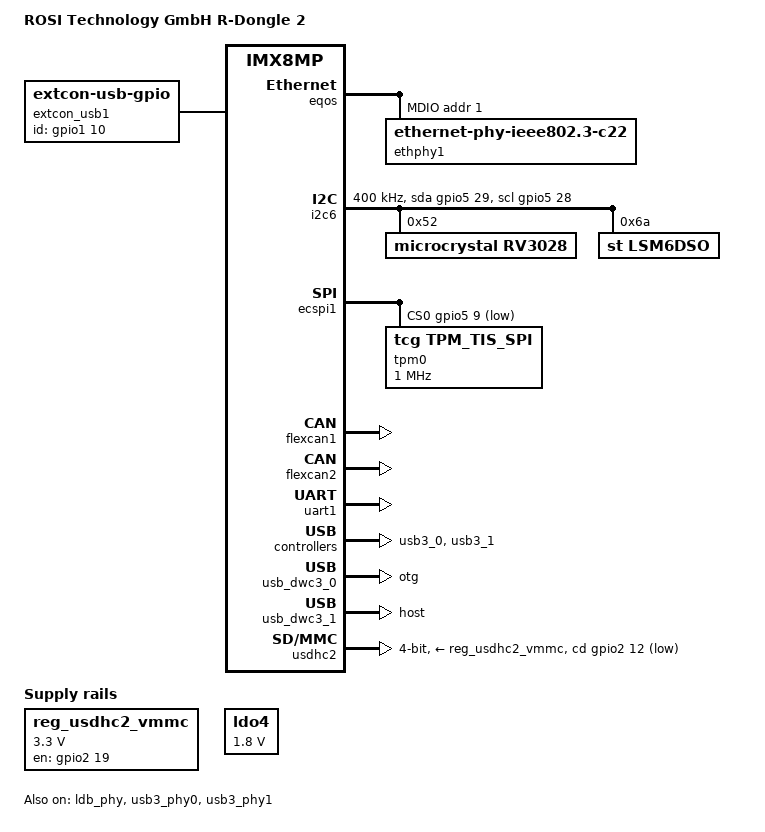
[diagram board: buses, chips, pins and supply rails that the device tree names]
// SPDX-License-Identifier: (GPL-2.0+ OR MIT)
/*
 * Copyright 2019 NXP
 * Copyright 2020-2021 Variscite Ltd.
 */

#include "imx8mp-var-dart.dtsi"

/ {
	model = "ROSI Technology GmbH R-Dongle 2";

	chosen {
		stdout-path = &uart1;
	};


	reg_usdhc2_vmmc: regulator-usdhc2-vmmc {
		compatible = "regulator-fixed";
		regulator-name = "VSD_3V3";
		regulator-min-microvolt = <3300000>;
		regulator-max-microvolt = <3300000>;
		gpio = <&gpio2 19 GPIO_ACTIVE_HIGH>;
		enable-active-high;
		startup-delay-us = <100>;
		off-on-delay-us = <12000>;
	};



	extcon_usb1: extcon_usb1 {
		compatible = "linux,extcon-usb-gpio";
		pinctrl-names = "default";
		pinctrl-0 = <&pinctrl_extcon>;
		id-gpio = <&gpio1 10 GPIO_ACTIVE_HIGH>;
		status = "okay";
	};

};

&eqos {
	mdio {
		ethphy1: ethernet-phy@1 {
			compatible = "ethernet-phy-ieee802.3-c22";
			reg = <1>;
			at803x,eee-disabled;
			at803x,vddio-1p8v;
			eee-broken-1000t;
		};
	};
};



&i2c6 {
	clock-frequency = <400000>;
	pinctrl-names = "default", "gpio";
	pinctrl-0 = <&pinctrl_i2c6>;
	scl-gpios = <&gpio5 28 GPIO_ACTIVE_HIGH>;
	sda-gpios = <&gpio5 29 GPIO_ACTIVE_HIGH>;
	status = "okay";
	
		rv3028: rtc@52 {
			compatible = "microcrystal,rv3028";
			reg = <0x52>;        
			status = "okay";
      	};
		
		lsm6dso@6a {
			compatible = "st,lsm6dso";
			reg = <0x6a>;
		};
};

&ecspi1 {
	pinctrl-names = "default";
	pinctrl-0 = <&pinctrl_tpmspi>;
	cs-gpios = <&gpio5  9 GPIO_ACTIVE_LOW>;
	status = "okay";
	
	tpm0: slb9670@0 {
		compatible = "tcg,tpm_tis_spi";
		reg = <0>;
        spi-max-frequency = <1000000>;
		status = "okay";
	};
};

&flexcan1 {
	pinctrl-names = "default";
	pinctrl-0 = <&pinctrl_flexcan1>;
	status = "okay";
};

&flexcan2 {
	pinctrl-names = "default";
	pinctrl-0 = <&pinctrl_flexcan2>;
	status = "okay";
};




&ldb_phy {
	status = "okay";
};



/* Console */
&uart1 {
	pinctrl-names = "default";
	pinctrl-0 = <&pinctrl_uart1>;
	status = "okay";
};



&usb3_phy0 {
	fsl,phy-tx-vref-tune = <0xe>;
	fsl,phy-tx-preemp-amp-tune = <3>;
	fsl,phy-tx-vboost-level = <5>;
	fsl,phy-comp-dis-tune = <7>;
	fsl,pcs-tx-deemph-3p5db = <0x21>;
	fsl,phy-pcs-tx-swing-full = <0x7f>;
	status = "okay";
};

&usb3_0 {
	status = "okay";
};

&usb_dwc3_0 {
	dr_mode = "otg";
	hnp-disable;
	srp-disable;
	adp-disable;
	extcon = <&extcon_usb1>;
	status = "okay";
};

&usb3_phy1 {
	fsl,phy-tx-preemp-amp-tune = <3>;
	fsl,phy-tx-vref-tune = <0xb>;
	status = "okay";
};

&usb3_1 {
	status = "okay";
};

&usb_dwc3_1 {
	dr_mode = "host";
	status = "okay";
};

&usdhc2 {
	pinctrl-names = "default", "state_100mhz", "state_200mhz";
	pinctrl-0 = <&pinctrl_usdhc2>, <&pinctrl_usdhc2_gpio>;
	pinctrl-1 = <&pinctrl_usdhc2_100mhz>, <&pinctrl_usdhc2_gpio>;
	pinctrl-2 = <&pinctrl_usdhc2_200mhz>, <&pinctrl_usdhc2_gpio>;
	cd-gpios = <&gpio2 12 GPIO_ACTIVE_LOW>;
	vmmc-supply = <&reg_usdhc2_vmmc>;
	bus-width = <4>;
	status = "okay";
};





&ldo4 {
	regulator-min-microvolt = <1800000>;
	regulator-max-microvolt = <1800000>;
};


&iomuxc {
	pinctrl-names = "default";
	pinctrl-0 = <&pinctrl_led &pinctrl_ethernet>;


	
		pinctrl_led: ledgrp {
			fsl,pins = <
					MX8MP_IOMUXC_SAI1_RXD6__GPIO4_IO08         0xc6           
					MX8MP_IOMUXC_SAI1_TXC__GPIO4_IO11          0xc6
					MX8MP_IOMUXC_SAI1_TXD0__GPIO4_IO12         0xc6
					MX8MP_IOMUXC_SAI1_TXD4__GPIO4_IO16         0xc6
					MX8MP_IOMUXC_SAI1_TXFS__GPIO4_IO10         0xc6
					MX8MP_IOMUXC_SAI1_RXD7__GPIO4_IO09         0xc6
			>;
		};
		pinctrl_4g: simcomgrp {
			fsl,pins = <
					MX8MP_IOMUXC_ENET_MDIO__GPIO1_IO17         0xc6     					
					MX8MP_IOMUXC_ENET_MDC__GPIO1_IO16          0xc6
					MX8MP_IOMUXC_I2C4_SCL__GPIO5_IO20          0xc6
			>;
		};		
		
		pinctrl_ethernet: ethernetgrp {
			fsl,pins = <
					MX8MP_IOMUXC_I2C2_SCL__GPIO5_IO16   		0xc6     				
			>;
		};	

		pinctrl_6dof: dofgrp {
			fsl,pins = <
					MX8MP_IOMUXC_SAI1_RXD1__GPIO4_IO03          0xc6     					
			>;
		};		
		
		pinctrl_button: buttongrp {
			fsl,pins = <
					MX8MP_IOMUXC_SAI1_TXD5__GPIO4_IO17           0xc6     					
			>;
		};	
		
		pinctrl_tpm: tpmgrp {
			fsl,pins = <
					MX8MP_IOMUXC_SAI1_TXD3__GPIO4_IO15             0xc6     					
					MX8MP_IOMUXC_UART2_RXD__GPIO5_IO24             0xc6     	
			>;
		};	
		pinctrl_tpmspi: tpmspigrp {
			fsl,pins = <
				MX8MP_IOMUXC_ECSPI1_SCLK__ECSPI1_SCLK				0x12
				MX8MP_IOMUXC_ECSPI1_MOSI__ECSPI1_MOSI				0x12
				MX8MP_IOMUXC_ECSPI1_MISO__ECSPI1_MISO				0x12
				MX8MP_IOMUXC_ECSPI1_SS0__GPIO5_IO09					0x12	
			>;
		};
		
		pinctrl_uart3: uart3grp {
		fsl,pins = <
			MX8MP_IOMUXC_UART3_RXD__UART3_DCE_RX  				0x40
			MX8MP_IOMUXC_UART3_TXD__UART3_DCE_TX 				0x40
		>;
	};
	
	pinctrl_KLine: Klinegrp {
		fsl,pins = <
			MX8MP_IOMUXC_SAI3_TXC__GPIO5_IO00      				0xc6
			MX8MP_IOMUXC_SAI3_TXFS__GPIO4_IO31  				0xc6
		>;
	};
		
	

	
	pinctrl_i2c6: i2c6grp {
		fsl,pins = <
			MX8MP_IOMUXC_UART4_RXD__I2C6_SCL  					0x400001c2
			MX8MP_IOMUXC_UART4_TXD__I2C6_SDA    				0x400001c2
		>;
	};


	pinctrl_uart1: uart1grp {
		fsl,pins = <
			MX8MP_IOMUXC_UART1_RXD__UART1_DCE_RX				0x40
			MX8MP_IOMUXC_UART1_TXD__UART1_DCE_TX				0x40
		>;
	};


	pinctrl_uart4: uart4grp {
		fsl,pins = <
			MX8MP_IOMUXC_ECSPI2_SCLK__UART4_DCE_RX				0x140
			MX8MP_IOMUXC_ECSPI2_MOSI__UART4_DCE_TX				0x140
			MX8MP_IOMUXC_ECSPI2_MISO__UART4_DCE_CTS				0x140
			MX8MP_IOMUXC_ECSPI2_SS0__UART4_DCE_RTS				0x140
		>;
	};

	pinctrl_usdhc2_gpio: usdhc2grp-gpio {
		fsl,pins = <
			MX8MP_IOMUXC_SD2_CD_B__GPIO2_IO12 				0x1c4
			MX8MP_IOMUXC_SD2_RESET_B__GPIO2_IO19				0x40
		>;
	};

	pinctrl_usdhc2: usdhc2grp {
		fsl,pins = <
			MX8MP_IOMUXC_SD2_CLK__USDHC2_CLK				0x190
			MX8MP_IOMUXC_SD2_CMD__USDHC2_CMD				0x1d0
			MX8MP_IOMUXC_SD2_DATA0__USDHC2_DATA0				0x1d0
			MX8MP_IOMUXC_SD2_DATA1__USDHC2_DATA1				0x1d0
			MX8MP_IOMUXC_SD2_DATA2__USDHC2_DATA2				0x1d0
			MX8MP_IOMUXC_SD2_DATA3__USDHC2_DATA3				0x1d0
			MX8MP_IOMUXC_GPIO1_IO04__USDHC2_VSELECT				0xc0
		>;
	};

	pinctrl_usdhc2_100mhz: usdhc2grp-100mhz {
		fsl,pins = <
			MX8MP_IOMUXC_SD2_CLK__USDHC2_CLK				0x194
			MX8MP_IOMUXC_SD2_CMD__USDHC2_CMD				0x1d4
			MX8MP_IOMUXC_SD2_DATA0__USDHC2_DATA0				0x1d4
			MX8MP_IOMUXC_SD2_DATA1__USDHC2_DATA1				0x1d4
			MX8MP_IOMUXC_SD2_DATA2__USDHC2_DATA2				0x1d4
			MX8MP_IOMUXC_SD2_DATA3__USDHC2_DATA3				0x1d4
			MX8MP_IOMUXC_GPIO1_IO04__USDHC2_VSELECT 			0xc0
		>;
	};

	pinctrl_usdhc2_200mhz: usdhc2grp-200mhz {
		fsl,pins = <
			MX8MP_IOMUXC_SD2_CLK__USDHC2_CLK				0x196
			MX8MP_IOMUXC_SD2_CMD__USDHC2_CMD				0x1d6
			MX8MP_IOMUXC_SD2_DATA0__USDHC2_DATA0				0x1d6
			MX8MP_IOMUXC_SD2_DATA1__USDHC2_DATA1				0x1d6
			MX8MP_IOMUXC_SD2_DATA2__USDHC2_DATA2				0x1d6
			MX8MP_IOMUXC_SD2_DATA3__USDHC2_DATA3				0x1d6
			MX8MP_IOMUXC_GPIO1_IO04__USDHC2_VSELECT 			0xc0
		>;
	};

	pinctrl_extcon: extcongrp {
		fsl,pins = <
			MX8MP_IOMUXC_GPIO1_IO10__GPIO1_IO10				0x10
		>;
	};

	pinctrl_flexcan1: flexcan1grp {
		fsl,pins = <
			  
			MX8MP_IOMUXC_HDMI_DDC_SCL__CAN1_TX					0x00000106
			MX8MP_IOMUXC_HDMI_DDC_SDA__CAN1_RX 					0x00000106
		>;
	};

	pinctrl_flexcan2: flexcan2grp {
		fsl,pins = <
			MX8MP_IOMUXC_HDMI_HPD__CAN2_RX   					0x00000106
			MX8MP_IOMUXC_HDMI_CEC__CAN2_TX   					0x00000106
		>;
	};

	pinctrl_can: cangrp {
		fsl,pins = <
			MX8MP_IOMUXC_GPIO1_IO06__GPIO1_IO06				0x1c6
			MX8MP_IOMUXC_SPDIF_RX__GPIO5_IO04				0x16
		>;
	};


};
